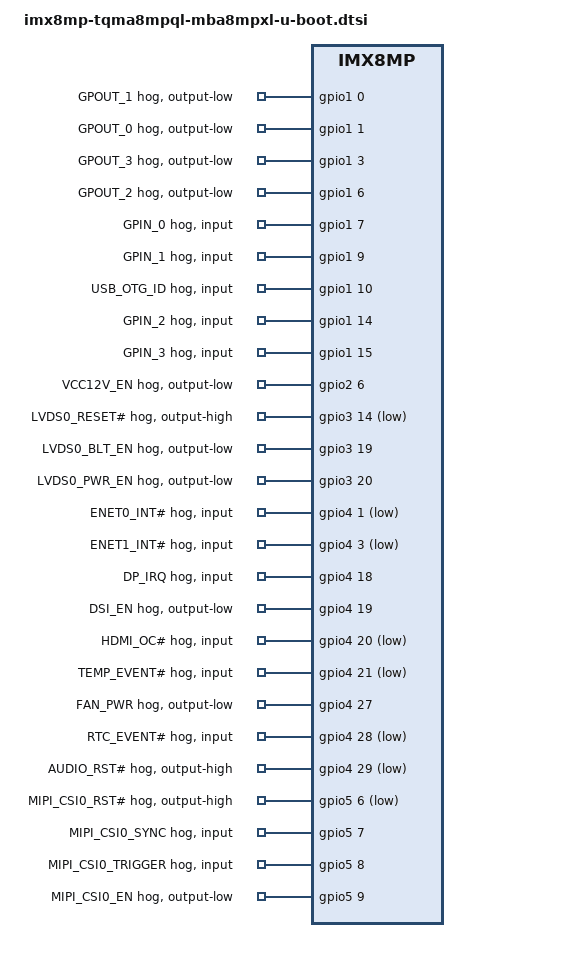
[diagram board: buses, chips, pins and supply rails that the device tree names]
// SPDX-License-Identifier: GPL-2.0-or-later OR MIT
/*
 * Copyright (c) 2021-2026 TQ-Systems GmbH <u-boot@ew.tq-group.com>,
 * D-82229 Seefeld, Germany.
 * Author: Markus Niebel
 */
#include "imx8mp-sec-def.h"

/*
 * overwrite:
 * memory region definition:
 * (address - DDR Base address) >> 1
 * (0x77000000 - 0x40000000) >> 1 -> 0x1b800000
 * (0x78000000 - 0x40000000) >> 1 -> 0x1c000000
 */
#define M7_DDR_START 0x1b800000
#define M7_DDR_END   0x1c000000

/* SOM shared settings for U-Boot */
#include "imx8mp-tqma8mpql-u-boot.dtsi"

/ {
	config {
		/* 64 kiB redundant env */
		u-boot,mmc-env-offset = <0x400000>;
		u-boot,mmc-env-offset-redundant = <0x410000>;
	};

	/*
	 * RDC configuration for M7 started / stopped used by NXP fork of TF-A
	 * The reserved memory regions and hardware needs to be in sync with
	 * the Linux RPMSG DTBO in use
	 * The settings are propagated to TF-A and are used when M7 is started /
	 * stopped using NXP vendor specific firmware calls IMX_SIP_SRC_M4_START
	 * and IMX_SIP_SRC_M4_STOP
	 */
	mcu_rdc {
		compatible = "imx8m,mcu_rdc";
		/* RDC config when MCU starts
		* master
		*   SDMA3p -> Domain 1
		*   SDMA3b -> Domain 1
		*   SDMA3_SPBA2  --> Domain 1
		* peripheral:
		*   UART3  -> Only Domain 1 can access
		*   GPT1   -> Only Domain 1 can access
		*   SDMA3  -> Only Domain 1 can access
		* memory:
		*   TCM    -> Only Domain 1 can access (0x7E0000~0x81FFFF)
		*   DDR    -> Only Domain 1 can access (0x77000000~0x78000000)
		* end.
		*/
		start-config = <
			    RDC_MDA  RDC_MDA_SDMA3p DID1 0x0 0x0
			    RDC_MDA  RDC_MDA_SDMA3b DID1 0x0 0x0
			    RDC_MDA  RDC_MDA_SDMA3_SPBA2 DID1 0x0 0x0
			    RDC_PDAP RDC_PDAP_UART3 PDAP_D1_ACCESS 0x0 0x0
			    RDC_PDAP RDC_PDAP_GPT1  PDAP_D1_ACCESS 0x0 0x0
			    RDC_PDAP RDC_PDAP_SDMA3 PDAP_D1_ACCESS 0x0 0x0
			    RDC_MEM_REGION 22 TCM_START TCM_END MEM_D1_ACCESS
			    RDC_MEM_REGION 39 M7_DDR_START M7_DDR_END MEM_D1_ACCESS
			    0x0      0x0            0x0  0x0 0x0
			  >;
		/* RDC config when MCU stops
		* memory:
		*   TCM    -> domain 0/1 can access (0x7E0000~0x81FFFF)
		*   DDR    -> domain 0/1 can access (0x77000000~0x78000000)
		* end.
		*/
		stop-config = <
			    RDC_MEM_REGION 22 TCM_START TCM_END MEM_D0D1_ACCESS
			    RDC_MEM_REGION 39 M7_DDR_START M7_DDR_END MEM_D0D1_ACCESS
			    0x0      0x0            0x0  0x0 0x0
			  >;
	};
};

&gpio1 {
	gpout1-hog {
		gpio-hog;
		gpios = <0 GPIO_ACTIVE_HIGH>;
		output-low;
		line-name = "GPOUT_1";
	};

	gpout0-hog {
		gpio-hog;
		gpios = <1 GPIO_ACTIVE_HIGH>;
		output-low;
		line-name = "GPOUT_0";
	};

	gpout3-hog {
		gpio-hog;
		gpios = <3 GPIO_ACTIVE_HIGH>;
		output-low;
		line-name = "GPOUT_3";
	};

	gpout2-hog {
		gpio-hog;
		gpios = <6 GPIO_ACTIVE_HIGH>;
		output-low;
		line-name = "GPOUT_2";
	};

	gpin0-hog {
		gpio-hog;
		gpios = <7 GPIO_ACTIVE_HIGH>;
		input;
		line-name = "GPIN_0";
	};

	gpin1-hog {
		gpio-hog;
		gpios = <9 GPIO_ACTIVE_HIGH>;
		input;
		line-name = "GPIN_1";
	};

	usb-otg-id-hog {
		gpio-hog;
		gpios = <10 GPIO_ACTIVE_HIGH>;
		input;
		line-name = "USB_OTG_ID";
	};

	gpin2-hog {
		gpio-hog;
		gpios = <14 GPIO_ACTIVE_HIGH>;
		input;
		line-name = "GPIN_2";
	};

	gpin3-hog {
		gpio-hog;
		gpios = <15 GPIO_ACTIVE_HIGH>;
		input;
		line-name = "GPIN_3";
	};
};

&gpio2 {
	vcc12v-en-hog {
		gpio-hog;
		gpios = <6 GPIO_ACTIVE_HIGH>;
		output-low;
		line-name = "VCC12V_EN";
	};
};

&gpio3 {
	lvds0-resetn-hog {
		gpio-hog;
		gpios = <14 GPIO_ACTIVE_LOW>;
		output-high;
		line-name = "LVDS0_RESET#";
	};

	lvds0-blt-en-hog {
		gpio-hog;
		gpios = <19 GPIO_ACTIVE_HIGH>;
		output-low;
		line-name = "LVDS0_BLT_EN";
	};

	lvds0-pwr-en-hog {
		gpio-hog;
		gpios = <20 GPIO_ACTIVE_HIGH>;
		output-low;
		line-name = "LVDS0_PWR_EN";
	};
};

&gpio4 {
	enet0-intn-hog {
		gpio-hog;
		gpios = <1 GPIO_ACTIVE_LOW>;
		input;
		line-name = "ENET0_INT#";
	};

	enet1-intn-hog {
		gpio-hog;
		gpios = <3 GPIO_ACTIVE_LOW>;
		input;
		line-name = "ENET1_INT#";
	};

	dp-irq-hog {
		gpio-hog;
		gpios = <18 GPIO_ACTIVE_HIGH>;
		input;
		line-name = "DP_IRQ";
	};

	dsi-en-hog {
		gpio-hog;
		gpios = <19 GPIO_ACTIVE_HIGH>;
		output-low;
		line-name = "DSI_EN";
	};

	hdmi-ocn-hog {
		gpio-hog;
		gpios = <20 GPIO_ACTIVE_LOW>;
		input;
		line-name = "HDMI_OC#";
	};

	temp-eventn-hog {
		gpio-hog;
		gpios = <21 GPIO_ACTIVE_LOW>;
		input;
		line-name = "TEMP_EVENT#";
	};

	fan-pwr-hog {
		gpio-hog;
		gpios = <27 GPIO_ACTIVE_HIGH>;
		output-low;
		line-name = "FAN_PWR";
	};

	rtc-eventn-hog {
		gpio-hog;
		gpios = <28 GPIO_ACTIVE_LOW>;
		input;
		line-name = "RTC_EVENT#";
	};

	audio-rstn-hog {
		gpio-hog;
		gpios = <29 GPIO_ACTIVE_LOW>;
		output-high;
		line-name = "AUDIO_RST#";
	};
};

&gpio5 {
	mipi-csi0-rstn-hog {
		gpio-hog;
		gpios = <6 GPIO_ACTIVE_LOW>;
		output-high;
		line-name = "MIPI_CSI0_RST#";
	};

	mipi-csi0-sync-hog {
		gpio-hog;
		gpios = <7 GPIO_ACTIVE_HIGH>;
		input;
		line-name = "MIPI_CSI0_SYNC";
	};

	mipi-csi0-trigger-hog {
		gpio-hog;
		gpios = <8 GPIO_ACTIVE_HIGH>;
		input;
		line-name = "MIPI_CSI0_TRIGGER";
	};

	mipi-csi0-en-hog {
		gpio-hog;
		gpios = <9 GPIO_ACTIVE_HIGH>;
		output-low;
		line-name = "MIPI_CSI0_EN";
	};
};

&pcie {
	status = "disabled";
};

&pcie_phy {
	status = "disabled";
};

&pinctrl_gpio1 {
	bootph-pre-ram;
};

&pinctrl_uart4 {
	bootph-pre-ram;
};

&uart4 {
	bootph-pre-ram;
};

&usdhc2 {
	sd-uhs-sdr104;
	sd-uhs-ddr50;
	assigned-clocks = <&clk IMX8MP_CLK_USDHC2>;
	assigned-clock-rates = <400000000>;
};

&wdog1 {
	u-boot,noautostart;
	timeout-sec = <60>;
};
